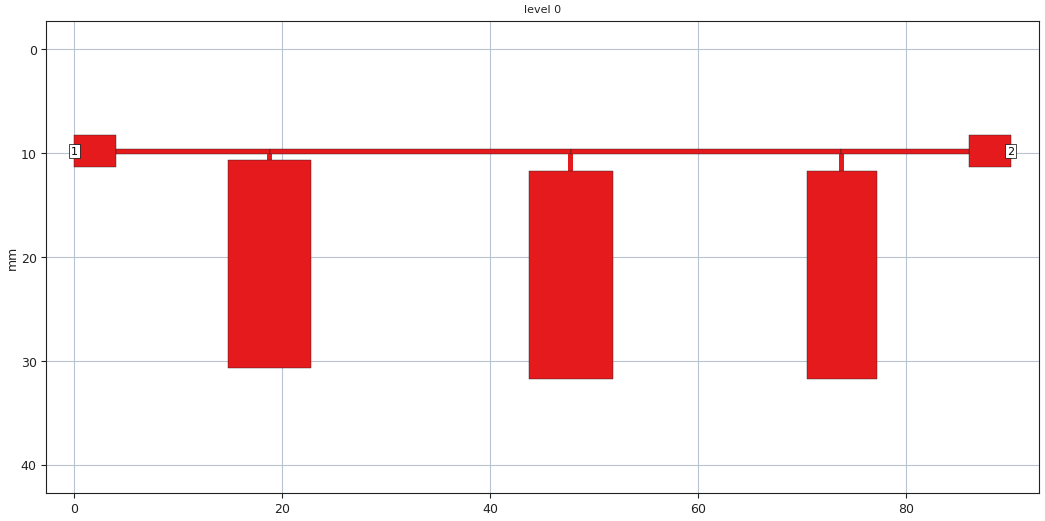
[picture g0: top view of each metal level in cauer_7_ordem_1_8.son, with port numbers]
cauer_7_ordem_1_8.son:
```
FTYP SONPROJ 13 ! Sonnet Project File
VER 15.53.lite
HEADER
LIC SL290709.106431 847bebfebdba DESKTOP-1CMJ3DP Arihe
DAT 05/13/2019 03:12:03
BUILT_BY_CREATED xgeom 15.53-Lite 04/13/2019 20:59:13
BUILT_BY_SAVED xgeom 15.53-Lite
MDATE 05/13/2019 03:12:03
HDATE 05/13/2019 03:12:03
END HEADER
DIM
FREQ GHZ
RSVY OHMM
IND NH
LNG MM
ANG DEG
CON /OH
CAP PF
RES OH
END DIM
FREQ
ABS 1.0e-9 3.0 
END FREQ
CONTROL
ABS
OPTIONS  -dj 
SPEED 0
CACHE_ABS 1
TARG_ABS 300
Q_ACC N
END CONTROL
GEO
DRP1 LEFT LINK
POLY 12 1
1
DRP1 RIGHT LINK
POLY 14 1
0
TMET "Lossless" 0 SUP 0 0 0 0
BMET "Lossless" 0 SUP 0 0 0 0
MET "Copper" 1 NOR 58000000 0 0.0347 
BOX 1 90.1 40 1802 160 20 0
      20 1 1 0 0 0 0 "Air"
      1.5306 4.1 1 0.02 0 0 0 "FR-4"
LORGN 0 40 U 
POR1 STD
POLY 12 1
3
1 50 0 0 0 6.249933904e-010 9.7875 
POR1 STD
POLY 14 1
1
2 50 0 0 0 90.1 9.7875 
NUM 12
0 5 0 N 12 1 1 100 100 0 0 0 Y
6.249933904e-010 8.2375
4.000000001 8.2375
4.000000001 11.3375
6.249933904e-010 11.3375
6.249933904e-010 8.2375
END
0 5 0 N 14 1 1 100 100 0 0 0 Y
86.1 8.2375
90.1 8.2375
90.1 11.3375
86.1 11.3375
86.1 8.2375
END
0 5 0 N 16 1 1 100 100 0 0 0 Y
3.999999999 9.5625
18.8 9.5625
18.8 10.0625
3.999999999 10.0625
3.999999999 9.5625
END
0 5 0 N 17 1 1 100 100 0 0 0 Y
19.05 10.1125
19.05 10.7125
18.55 10.7125
18.55 10.1125
19.05 10.1125
END
0 5 0 N 18 1 1 100 100 0 0 0 Y
18.8 9.5625
47.8 9.5625
47.8 10.0625
18.8 10.0625
18.8 9.5625
END
0 5 0 N 19 1 1 100 100 0 0 0 Y
47.5 10.0625
48 10.0625
48 11.7625
47.5 11.7625
47.5 10.0625
END
0 5 0 N 20 1 1 100 100 0 0 0 Y
47.8 9.5625
73.8 9.5625
73.8 10.0625
47.8 10.0625
47.8 9.5625
END
0 5 0 N 21 1 1 100 100 0 0 0 Y
74.1 10.0625
74.1 11.7625
73.6 11.7625
73.6 10.0625
74.1 10.0625
END
0 5 0 N 22 1 1 100 100 0 0 0 Y
73.8 9.5625
86.1 9.5625
86.1 10.0625
73.8 10.0625
73.8 9.5625
END
0 5 0 N 23 1 1 100 100 0 0 0 Y
14.8 10.6625
22.8 10.6625
22.8 30.6625
14.8 30.6625
14.8 10.6625
END
0 5 0 N 24 1 1 100 100 0 0 0 Y
43.7 11.7625
51.8 11.7625
51.8 31.7625
43.7 31.7625
43.7 11.7625
END
0 5 0 N 25 1 1 100 100 0 0 0 Y
70.5 11.7625
77.2 11.7625
77.2 31.7625
70.5 31.7625
70.5 11.7625
END
END GEO
OPT
MAX 100
VARS
END
END OPT
VARSWP
END VARSWP
QSG
IMPORT NO
EXTRA_METAL NO
UNITS YES
ALIGN NO
REF NO
VIEW_RES NO
METALS YES
USED NO
END QSG
```
